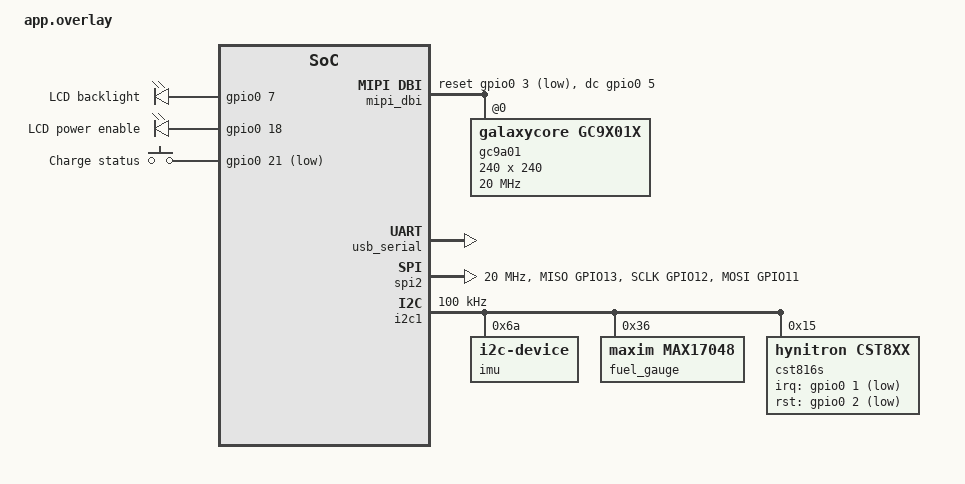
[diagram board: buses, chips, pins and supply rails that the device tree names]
#include <zephyr/dt-bindings/display/panel.h>
#include <zephyr/dt-bindings/gpio/gpio.h>
#include <zephyr/dt-bindings/i2c/i2c.h>
#include <zephyr/dt-bindings/input/input-event-codes.h>
#include <zephyr/dt-bindings/pinctrl/esp-pinctrl-common.h>
#include <zephyr/dt-bindings/pinctrl/esp32s3-gpio-sigmap.h>
#include <zephyr/dt-bindings/pinctrl/esp32s3-pinctrl.h>

/ {
	chosen {
		zephyr,console = &usb_serial;
		zephyr,shell-uart = &usb_serial;
		zephyr,display = &gc9a01;
		zephyr,touch = &cst816s;
	};

	mipi_dbi {
		compatible = "zephyr,mipi-dbi-spi";
		spi-dev = <&spi2>;
		dc-gpios = <&gpio0 5 GPIO_ACTIVE_HIGH>;
		reset-gpios = <&gpio0 3 GPIO_ACTIVE_LOW>;
		write-only;
		#address-cells = <1>;
		#size-cells = <0>;

		gc9a01: gc9a01@0 {
			compatible = "galaxycore,gc9x01x";
			reg = <0>;
			status = "okay";
			zephyr,deferred-init;
			orientation = "180";
			mipi-max-frequency = <20000000>;
			mipi-mode = "MIPI_DBI_MODE_SPI_4WIRE";
			pixel-format = <PANEL_PIXEL_FORMAT_RGB_565>;
			width = <240>;
			height = <240>;
			display-inversion;
		};
	};

	leds {
		compatible = "gpio-leds";

		lcd_backlight: lcd_backlight {
			gpios = <&gpio0 7 GPIO_ACTIVE_HIGH>;
			label = "LCD backlight";
		};

		lcd_power_enable: lcd_power_enable {
			gpios = <&gpio0 18 GPIO_ACTIVE_HIGH>;
			label = "LCD power enable";
		};
	};

	charger_inputs {
		compatible = "gpio-keys";

		charger_status: charger_status {
			gpios = <&gpio0 21 (GPIO_PULL_UP | GPIO_ACTIVE_LOW)>;
			label = "Charge status";
			zephyr,code = <INPUT_KEY_F24>;
		};
	};
};

&usb_serial {
	status = "okay";
};

&pinctrl {
	/* LCD is wired to GPIO12/11/13, the IO_MUX pins of SPI2 (FSPI). */
	spim2_lcd_default: spim2_lcd_default {
		group1 {
			pinmux = <SPIM2_MISO_GPIO13>, <SPIM2_SCLK_GPIO12>;
		};

		group2 {
			pinmux = <SPIM2_MOSI_GPIO11>;
			output-low;
		};
	};

	i2c1_touch_default: i2c1_touch_default {
		group1 {
			pinmux = <I2C1_SDA_GPIO8>, <I2C1_SCL_GPIO9>;
			bias-pull-up;
			drive-open-drain;
			output-high;
		};
	};
};

&spi2 {
	#address-cells = <1>;
	#size-cells = <0>;
	status = "okay";
	pinctrl-0 = <&spim2_lcd_default>;
	pinctrl-names = "default";
	clock-frequency = <20000000>;
	cs-gpios = <&gpio0 4 GPIO_ACTIVE_LOW>;
};

&spi3 {
	status = "disabled";
};

&i2c1 {
	status = "okay";
	clock-frequency = <I2C_BITRATE_STANDARD>;
	pinctrl-0 = <&i2c1_touch_default>;
	pinctrl-names = "default";

	imu: lsm6dsl@6a {
		compatible = "i2c-device";
		reg = <0x6a>;
		status = "okay";
	};

	fuel_gauge: max17048@36 {
		compatible = "maxim,max17048";
		reg = <0x36>;
		status = "okay";
		zephyr,deferred-init;
	};

	cst816s: cst81xx@15 {
		compatible = "hynitron,cst8xx";
		reg = <0x15>;
		status = "okay";
		zephyr,deferred-init;
		irq-gpios = <&gpio0 1 (GPIO_PULL_UP | GPIO_ACTIVE_LOW)>;
		rst-gpios = <&gpio0 2 GPIO_ACTIVE_LOW>;
	};
};

&{/buttons} {
	imu_wake1 {
		gpios = <&gpio0 17 GPIO_ACTIVE_HIGH>;
		label = "IMU INT1";
		zephyr,code = <INPUT_KEY_WAKEUP>;
	};

	imu_wake2 {
		gpios = <&gpio0 14 GPIO_ACTIVE_HIGH>;
		label = "IMU INT2";
		zephyr,code = <INPUT_KEY_WAKEUP>;
	};
};
